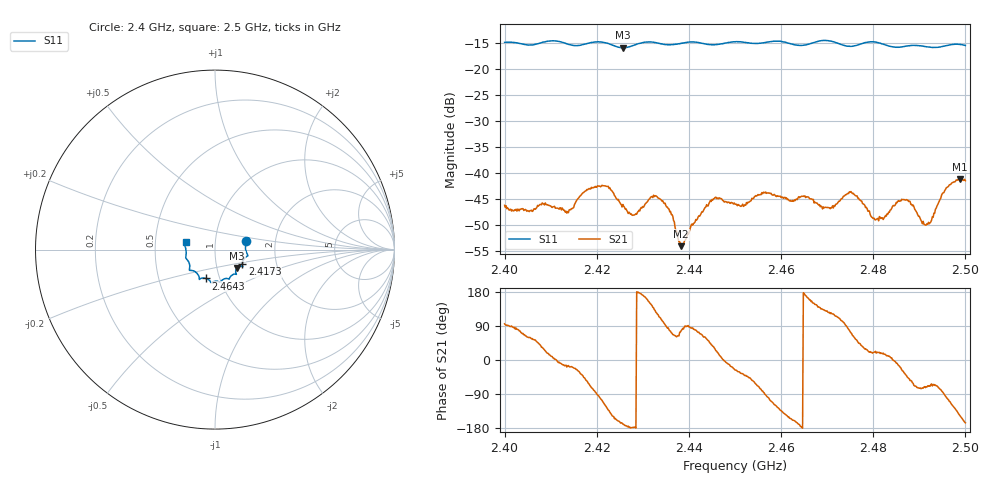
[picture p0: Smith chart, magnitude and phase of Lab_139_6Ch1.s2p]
# Hz S RI R 50
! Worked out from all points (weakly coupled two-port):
!   601 points, 2.4 GHz to 2.5 GHz, reference 50 ohm
!   highest |S21| = -41.08 dB at 2.4988 GHz (marker M1); lowest = -54.0 dB at 2.4383 GHz (marker M2)
!   lowest |S11| = -15.9 dB at 2.4257 GHz (marker M3), VSWR 1.38, Z = 62.4 - j13.2 ohm
!   |S11| at or under -10 dB: start of sweep to end of sweep
!   S12 and S22 are empty: the file has one direction only
!   S11 on the Smith chart (normalised r, x): 2.4 GHz: 1.41, +0.15; 2.4173 GHz: 1.34, -0.23; 2.4643 GHz: 0.86, -0.28; 2.5 GHz: 0.72, +0.06
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2.4e9  0.1733 0.0498  -0.00047 0.00491  0 0  0 0
2.413667e9  0.1682 -0.0443  0.00414 -0.00117  0 0  0 0
2.416667e9  0.1527 -0.0748  0.00495 -0.00383  0 0  0 0
2.417333e9  0.1522 -0.0822  0.00455 -0.00487  0 0  0 0
2.422e9  0.1516 -0.0942  -0.00398 -0.00637  0 0  0 0
2.425667e9  0.1227 -0.1026  -0.00493 -0.000941  0 0  0 0
2.428167e9  0.115 -0.1252  -0.00398 -0.000193  0 0  0 0
2.433333e9  0.1127 -0.1366  -0.00283 0.00505  0 0  0 0
2.436e9  0.0942 -0.1429  0.00104 0.00419  0 0  0 0
2.438333e9  0.082 -0.1562  0.000414 0.00196  0 0  0 0
2.445167e9  0.0541 -0.1623  0.00445 0.00328  0 0  0 0
2.45e9  0.0293 -0.1809  0.00453 -0.00227  0 0  0 0
2.464333e9  -0.0504 -0.1608  -0.00597 -0.00044  0 0  0 0
2.466667e9  -0.0765 -0.1598  -0.00514 0.00238  0 0  0 0
2.470833e9  -0.0871 -0.1638  -0.00265 0.00385  0 0  0 0
2.475333e9  -0.1097 -0.1236  0.0023 0.00608  0 0  0 0
2.480167e9  -0.1429 -0.1132  0.00348 0.00129  0 0  0 0
2.483333e9  -0.1409 -0.0896  0.00417 0.00072  0 0  0 0
2.487e9  -0.1558 -0.0564  0.00433 -0.00343  0 0  0 0
2.491833e9  -0.1609 -0.0268  0.00121 -0.00301  0 0  0 0
2.498833e9  -0.1688 0.0352  -0.00744 -0.00474  0 0  0 0
2.5e9  -0.1634 0.0415  -0.00823 -0.00208  0 0  0 0
